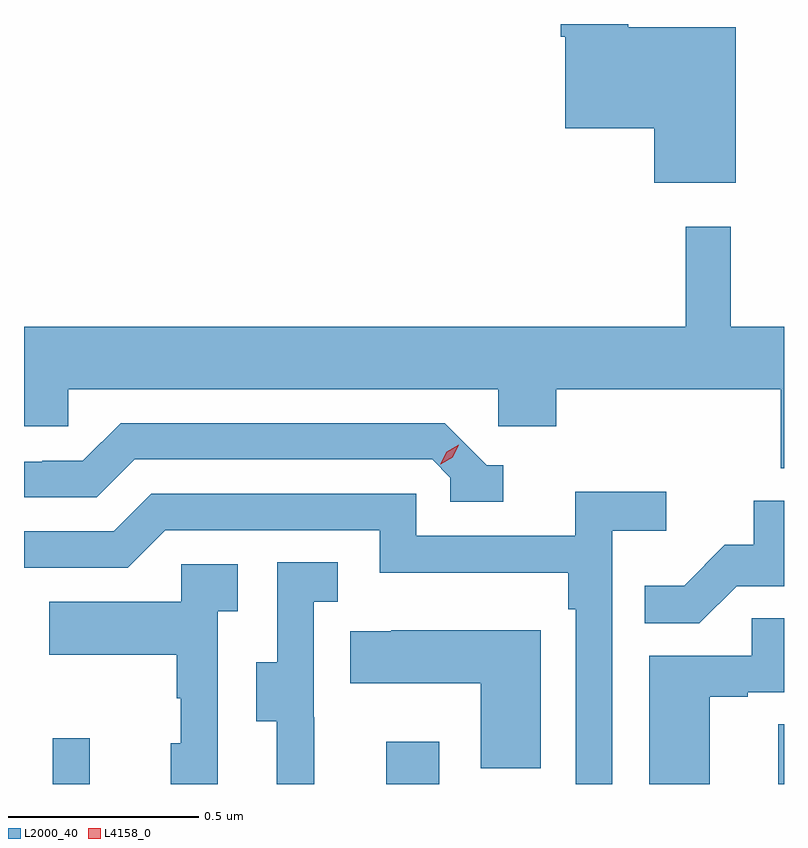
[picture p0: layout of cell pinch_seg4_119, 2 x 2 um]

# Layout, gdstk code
import gdstk
lib = gdstk.Library(unit=1e-6, precision=1e-09)
def R(c, l, rs):  # rectangles x0, y0, x1, y1
    for r in rs: c.add(gdstk.rectangle(r[:2], r[2:], *l))
def P(c, l, *ps):  # polygons
    for p in ps: c.add(gdstk.Polygon(p, *l))
L2000_40 = (2000, 40)
L4158_0 = (4158, 0)

pinch_seg4_119 = lib.new_cell('pinch_seg4_119')
R(pinch_seg4_119, L2000_40, [(1056.213,798.445,1056.311,798.565), (1057.091,798.445,1057.231,798.556), (1058.123,798.445,1058.138,798.602)])
P(pinch_seg4_119, L2000_40, [(1058.011,800.437),(1057.728,800.437),(1057.728,800.445),(1057.55,800.445),(1057.55,800.411),(1057.562,800.411),(1057.562,800.171),(1057.796,800.171),(1057.796,800.027),(1058.011,800.027)],
  [(1056.138,799.386),(1056.255,799.386),(1056.255,799.484),(1057.386,799.484),(1057.386,799.386),(1057.538,799.386),(1057.538,799.484),(1058.129,799.484),(1058.129,799.276),(1058.138,799.276),(1058.138,799.648),(1057.998,799.648),(1057.998,799.912),(1057.879,799.912),(1057.879,799.648),(1056.138,799.648)],
  [(1057.399,799.284),(1057.356,799.284),(1057.245,799.395),(1056.392,799.395),(1056.293,799.296),(1056.186,799.296),(1056.186,799.293),(1056.138,799.293),(1056.138,799.2),(1056.33,799.2),(1056.429,799.299),(1057.212,799.299),(1057.26,799.251),(1057.26,799.188),(1057.399,799.188)],
  [(1057.686,799.112),(1057.828,799.112),(1057.828,799.214),(1057.589,799.214),(1057.589,799.098),(1057.17,799.098),(1057.17,799.209),(1056.473,799.209),(1056.374,799.11),(1056.138,799.11),(1056.138,799.014),(1056.411,799.014),(1056.51,799.113),(1057.074,799.113),(1057.074,799.001),(1057.57,799.001),(1057.57,798.905),(1057.59,798.905),(1057.59,798.445),(1057.686,798.445)],
  [(1058.013,798.966),(1058.138,798.966),(1058.138,799.191),(1058.059,799.191),(1058.059,799.074),(1057.982,799.074),(1057.875,798.967),(1057.771,798.967),(1057.771,798.868),(1057.915,798.868)],
  [(1056.902,798.621),(1056.9,798.621),(1056.9,798.925),(1056.964,798.925),(1056.964,799.028),(1056.804,799.028),(1056.804,798.765),(1056.749,798.765),(1056.749,798.61),(1056.803,798.61),(1056.803,798.445),(1056.902,798.445)],
  [(1056.648,798.899),(1056.7,798.899),(1056.7,799.023),(1056.552,799.023),(1056.552,798.925),(1056.205,798.925),(1056.205,798.785),(1056.54,798.785),(1056.54,798.671),(1056.55,798.671),(1056.55,798.552),(1056.524,798.552),(1056.524,798.445),(1056.648,798.445)],
  [(1057.942,798.675),(1058.042,798.675),(1058.042,798.687),(1058.138,798.687),(1058.138,798.881),(1058.053,798.881),(1058.053,798.783),(1057.784,798.783),(1057.784,798.445),(1057.942,798.445)],
  [(1057.498,798.85),(1057.105,798.85),(1057.105,798.847),(1056.997,798.847),(1056.997,798.71),(1057.34,798.71),(1057.34,798.486),(1057.498,798.486)])
P(pinch_seg4_119, L4158_0, [(1057.234,799.286),(1057.234,799.287),(1057.251,799.319),(1057.282,799.338),(1057.282,799.338),(1057.282,799.337),(1057.266,799.305),(1057.235,799.286)])

lib.write_gds('pinch_seg4_119.gds')
